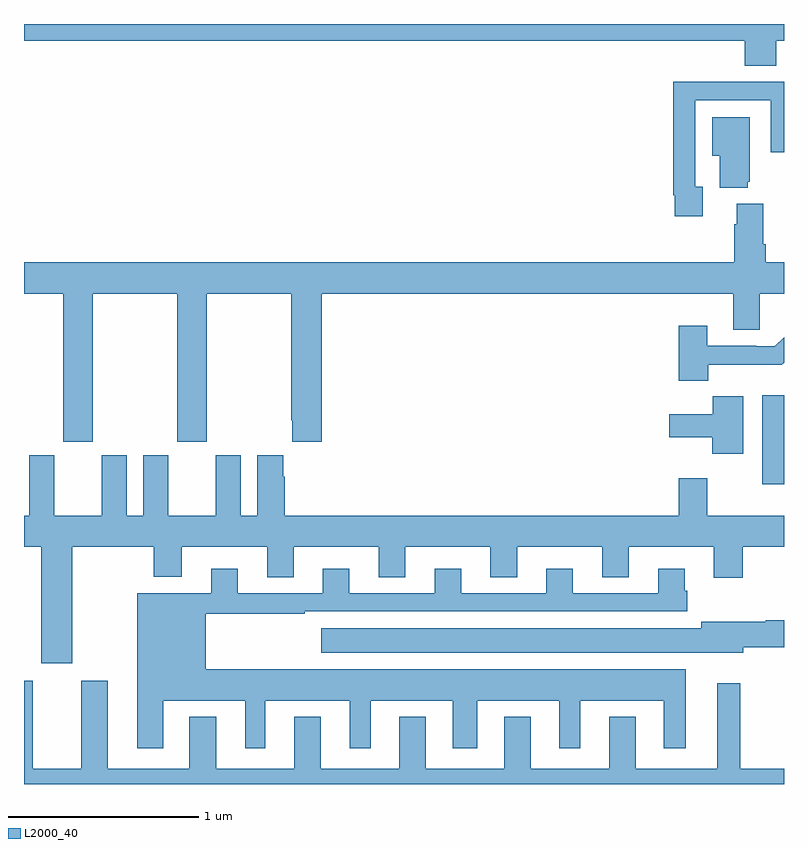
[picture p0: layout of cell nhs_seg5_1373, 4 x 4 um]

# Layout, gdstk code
import gdstk
lib = gdstk.Library(unit=1e-6, precision=1e-09)
def R(c, l, rs):  # rectangles x0, y0, x1, y1
    for r in rs: c.add(gdstk.rectangle(r[:2], r[2:], *l))
def P(c, l, *ps):  # polygons
    for p in ps: c.add(gdstk.Polygon(p, *l))
L2000_40 = (2000, 40)

nhs_seg5_1373 = lib.new_cell('nhs_seg5_1373')
R(nhs_seg5_1373, L2000_40, [(196.886,902.376,197,902.845)])
P(nhs_seg5_1373, L2000_40, [(196.958,904.712),(197,904.712),(197,904.799),(193,904.799),(193,904.712),(196.793,904.712),(196.793,904.579),(196.958,904.579)],
  [(196.573,903.942),(196.533,903.942),(196.533,904.398),(196.929,904.398),(196.929,904.125),(197,904.125),(197,904.494),(196.709,904.494),(196.709,904.496),(196.417,904.496),(196.417,903.898),(196.425,903.898),(196.425,903.786),(196.573,903.786)],
  [(196.808,903.969),(196.819,903.969),(196.819,904.309),(196.622,904.309),(196.622,904.106),(196.661,904.106),(196.661,903.938),(196.808,903.938)],
  [(193.362,903.38),(193.807,903.38),(193.807,902.601),(193.962,902.601),(193.962,903.38),(194.407,903.38),(194.407,902.713),(194.411,902.713),(194.411,902.601),(194.567,902.601),(194.567,903.38),(196.733,903.38),(196.733,903.19),(196.873,903.19),(196.873,903.38),(197,903.38),(197,903.544),(196.904,903.544),(196.904,903.64),(196.891,903.64),(196.891,903.853),(196.751,903.853),(196.751,903.746),(196.739,903.746),(196.739,903.544),(193,903.544),(193,903.38),(193.207,903.38),(193.207,902.601),(193.362,902.601)],
  [(196.6,903.006),(196.989,903.006),(197,903.017),(197,903.15),(196.952,903.102),(196.853,903.102),(196.853,903.105),(196.597,903.105),(196.597,903.211),(196.445,903.211),(196.445,902.921),(196.6,902.921)],
  [(196.786,902.839),(196.624,902.839),(196.624,902.746),(196.395,902.746),(196.395,902.624),(196.622,902.624),(196.622,902.538),(196.786,902.538)],
  [(193.255,902.048),(193.684,902.048),(193.684,901.889),(193.831,901.889),(193.831,902.048),(194.279,902.048),(194.279,901.888),(194.419,901.888),(194.419,902.048),(194.867,902.048),(194.867,901.888),(195.007,901.888),(195.007,902.048),(195.455,902.048),(195.455,901.888),(195.595,901.888),(195.595,902.048),(196.043,902.048),(196.043,901.888),(196.183,901.888),(196.183,902.048),(196.631,902.048),(196.631,901.884),(196.784,901.884),(196.784,902.048),(197,902.048),(197,902.212),(196.597,902.212),(196.597,902.407),(196.445,902.407),(196.445,902.212),(194.372,902.212),(194.372,902.417),(194.365,902.417),(194.365,902.53),(194.228,902.53),(194.228,902.212),(194.14,902.212),(194.14,902.53),(194.009,902.53),(194.009,902.212),(193.759,902.212),(193.759,902.53),(193.628,902.53),(193.628,902.212),(193.54,902.212),(193.54,902.53),(193.409,902.53),(193.409,902.212),(193.159,902.212),(193.159,902.53),(193.028,902.53),(193.028,902.212),(193,902.212),(193,902.048),(193.091,902.048),(193.091,901.434),(193.255,901.434)],
  [(193.732,901.238),(194.165,901.238),(194.165,900.987),(194.269,900.987),(194.269,901.238),(194.714,901.238),(194.714,900.987),(194.824,900.987),(194.824,901.238),(195.257,901.238),(195.257,900.987),(195.385,900.987),(195.385,901.238),(195.818,901.238),(195.818,900.987),(195.928,900.987),(195.928,901.238),(196.367,901.238),(196.367,900.987),(196.483,900.987),(196.483,901.402),(193.957,901.402),(193.957,901.695),(194.477,901.695),(194.477,901.707),(196.49,901.707),(196.49,901.815),(196.477,901.815),(196.477,901.933),(196.337,901.933),(196.337,901.803),(195.889,901.803),(195.889,901.933),(195.749,901.933),(195.749,901.803),(195.301,901.803),(195.301,901.933),(195.161,901.933),(195.161,901.803),(194.713,901.803),(194.713,901.933),(194.573,901.933),(194.573,901.803),(194.125,901.803),(194.125,901.933),(193.985,901.933),(193.985,901.804),(193.595,901.804),(193.595,900.987),(193.732,900.987)],
  [(196.786,901.52),(197,901.52),(197,901.662),(196.904,901.662),(196.904,901.654),(196.565,901.654),(196.565,901.618),(194.565,901.618),(194.565,901.49),(196.786,901.49)],
  [(197,900.88),(196.771,900.88),(196.771,901.33),(196.649,901.33),(196.649,900.88),(196.219,900.88),(196.219,901.153),(196.079,901.153),(196.079,900.88),(195.667,900.88),(195.667,901.153),(195.527,901.153),(195.527,900.88),(195.115,900.88),(195.115,901.153),(194.975,901.153),(194.975,900.88),(194.563,900.88),(194.563,901.153),(194.423,901.153),(194.423,900.88),(194.011,900.88),(194.011,901.153),(193.871,901.153),(193.871,900.88),(193.441,900.88),(193.441,901.342),(193.301,901.342),(193.301,900.88),(193.045,900.88),(193.045,901.342),(193,901.342),(193,900.799),(197,900.799)])

lib.write_gds('nhs_seg5_1373.gds')
